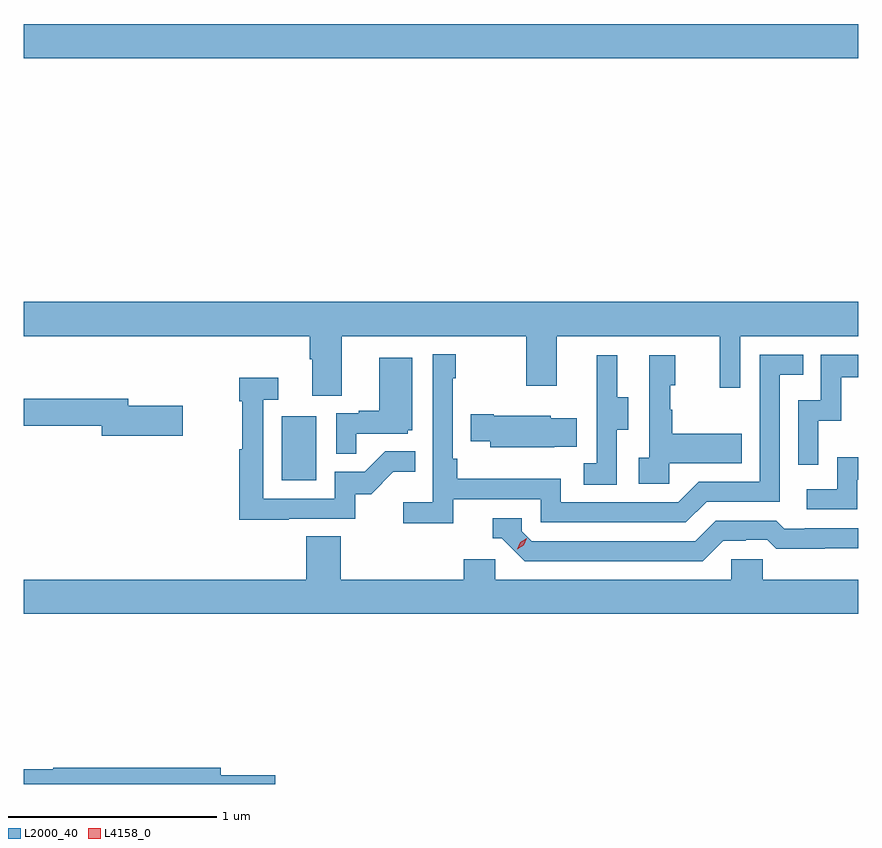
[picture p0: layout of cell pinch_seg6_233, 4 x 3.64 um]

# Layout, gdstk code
import gdstk
lib = gdstk.Library(unit=1e-6, precision=1e-09)
def R(c, l, rs):  # rectangles x0, y0, x1, y1
    for r in rs: c.add(gdstk.rectangle(r[:2], r[2:], *l))
def P(c, l, *ps):  # polygons
    for p in ps: c.add(gdstk.Polygon(p, *l))
L2000_40 = (2000, 40)
L4158_0 = (4158, 0)

pinch_seg6_233 = lib.new_cell('pinch_seg6_233')
R(pinch_seg6_233, L2000_40, [(1089.506,925.332,1089.67,925.639), (1088.269,927.356,1092.269,927.52)])
P(pinch_seg6_233, L2000_40, [(1089.793,926.024),(1090.678,926.024),(1090.678,925.785),(1090.825,925.785),(1090.825,926.024),(1091.606,926.024),(1091.606,925.776),(1091.703,925.776),(1091.703,926.024),(1092.269,926.024),(1092.269,926.188),(1088.269,926.188),(1088.269,926.024),(1089.641,926.024),(1089.641,925.912),(1089.653,925.912),(1089.653,925.738),(1089.793,925.738)],
  [(1090.328,925.242),(1090.746,925.242),(1090.746,925.131),(1091.443,925.131),(1091.542,925.23),(1091.892,925.23),(1091.892,925.839),(1092.005,925.839),(1092.005,925.935),(1091.796,925.935),(1091.796,925.326),(1091.505,925.326),(1091.406,925.227),(1090.842,925.227),(1090.842,925.339),(1090.346,925.339),(1090.346,925.435),(1090.326,925.435),(1090.326,925.823),(1090.339,925.823),(1090.339,925.936),(1090.23,925.936),(1090.23,925.228),(1090.089,925.228),(1090.089,925.126),(1090.328,925.126)],
  [(1092.078,925.619),(1092.188,925.619),(1092.188,925.827),(1092.269,925.827),(1092.269,925.935),(1092.09,925.935),(1092.09,925.716),(1091.982,925.716),(1091.982,925.407),(1092.078,925.407)],
  [(1091.364,925.415),(1091.711,925.415),(1091.711,925.555),(1091.377,925.555),(1091.377,925.67),(1091.367,925.67),(1091.367,925.788),(1091.392,925.788),(1091.392,925.933),(1091.268,925.933),(1091.268,925.442),(1091.217,925.442),(1091.217,925.317),(1091.364,925.317)],
  [(1091.112,925.576),(1091.167,925.576),(1091.167,925.731),(1091.113,925.731),(1091.113,925.933),(1091.015,925.933),(1091.015,925.719),(1091.016,925.719),(1091.016,925.415),(1090.953,925.415),(1090.953,925.312),(1091.112,925.312)],
  [(1089.863,925.557),(1090.11,925.557),(1090.11,925.572),(1090.132,925.572),(1090.132,925.921),(1089.974,925.921),(1089.974,925.666),(1089.875,925.666),(1089.875,925.653),(1089.768,925.653),(1089.768,925.459),(1089.863,925.459)],
  [(1089.539,925.149),(1089.858,925.149),(1089.858,925.266),(1089.934,925.266),(1090.041,925.373),(1090.145,925.373),(1090.145,925.472),(1090.001,925.472),(1089.903,925.374),(1089.759,925.374),(1089.759,925.245),(1089.417,925.245),(1089.417,925.719),(1089.49,925.719),(1089.49,925.825),(1089.301,925.825),(1089.301,925.712),(1089.316,925.712),(1089.316,925.482),(1089.301,925.482),(1089.301,925.144),(1089.539,925.144)],
  [(1089.031,925.689),(1088.77,925.689),(1088.77,925.723),(1088.269,925.723),(1088.269,925.594),(1088.642,925.594),(1088.642,925.547),(1089.031,925.547)],
  [(1090.811,925.493),(1090.919,925.493),(1090.919,925.63),(1090.794,925.63),(1090.794,925.642),(1090.522,925.642),(1090.522,925.65),(1090.411,925.65),(1090.411,925.52),(1090.505,925.52),(1090.505,925.49),(1090.811,925.49)],
  [(1092.264,925.335),(1092.269,925.335),(1092.269,925.444),(1092.168,925.444),(1092.168,925.29),(1092.021,925.29),(1092.021,925.194),(1092.264,925.194)],
  [(1091.623,925.044),(1091.73,925.044),(1091.73,925.047),(1091.833,925.047),(1091.875,925.005),(1092.108,925.005),(1092.108,925.007),(1092.269,925.007),(1092.269,925.104),(1092.013,925.104),(1092.013,925.101),(1091.914,925.101),(1091.875,925.14),(1091.586,925.14),(1091.487,925.041),(1090.704,925.041),(1090.656,925.089),(1090.656,925.152),(1090.517,925.152),(1090.517,925.056),(1090.56,925.056),(1090.671,924.945),(1091.524,924.945)],
  [(1092.269,924.856),(1091.811,924.856),(1091.811,924.954),(1091.661,924.954),(1091.661,924.856),(1090.53,924.856),(1090.53,924.954),(1090.379,924.954),(1090.379,924.856),(1089.788,924.856),(1089.788,925.064),(1089.623,925.064),(1089.623,924.856),(1088.269,924.856),(1088.269,924.692),(1092.269,924.692)],
  [(1089.475,923.918),(1089.214,923.918),(1089.214,923.954),(1088.41,923.954),(1088.41,923.947),(1088.269,923.947),(1088.269,923.877),(1089.475,923.877)])
P(pinch_seg6_233, L4158_0, [(1090.634,925.002),(1090.634,925.002),(1090.65,925.035),(1090.68,925.054),(1090.681,925.054),(1090.681,925.054),(1090.665,925.021),(1090.635,925.002)])

lib.write_gds('pinch_seg6_233.gds')
